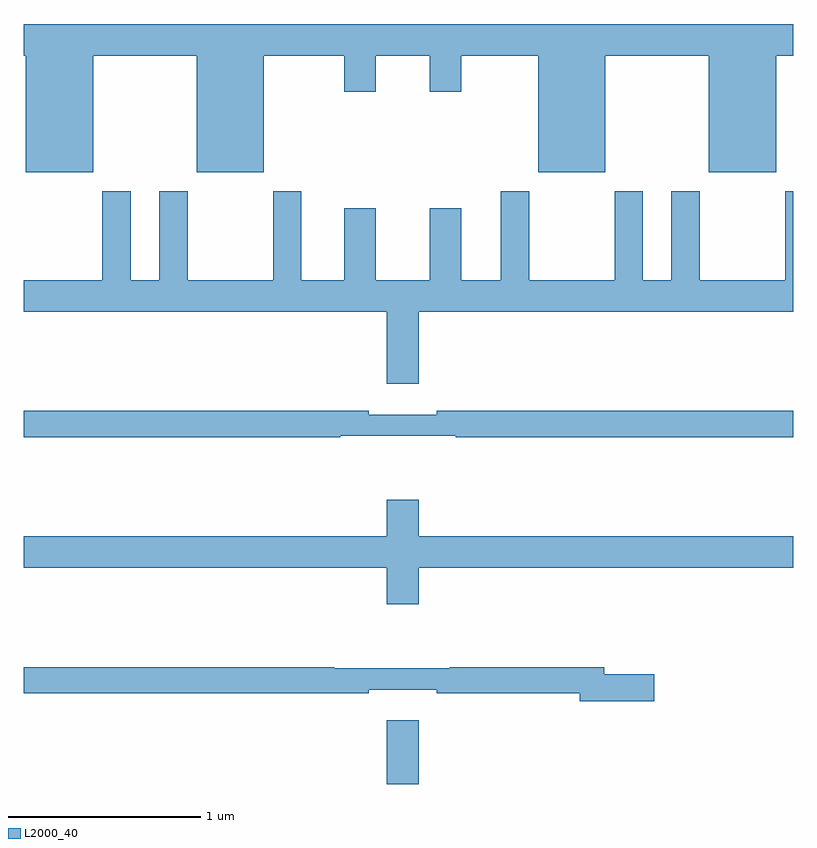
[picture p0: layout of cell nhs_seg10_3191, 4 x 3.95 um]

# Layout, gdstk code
import gdstk
lib = gdstk.Library(unit=1e-6, precision=1e-09)
def R(c, l, rs):  # rectangles x0, y0, x1, y1
    for r in rs: c.add(gdstk.rectangle(r[:2], r[2:], *l))
def P(c, l, *ps):  # polygons
    for p in ps: c.add(gdstk.Polygon(p, *l))
L2000_40 = (2000, 40)

nhs_seg10_3191 = lib.new_cell('nhs_seg10_3191')
R(nhs_seg10_3191, L2000_40, [(284.888,1324.5,285.052,1324.831)])
P(nhs_seg10_3191, L2000_40, [(283.36,1328.288),(283.898,1328.288),(283.898,1327.682),(284.248,1327.682),(284.248,1328.288),(284.666,1328.288),(284.666,1328.1),(284.83,1328.1),(284.83,1328.288),(285.11,1328.288),(285.11,1328.1),(285.274,1328.1),(285.274,1328.288),(285.674,1328.288),(285.674,1327.682),(286.024,1327.682),(286.024,1328.288),(286.562,1328.288),(286.562,1327.682),(286.912,1327.682),(286.912,1328.288),(287,1328.288),(287,1328.452),(283,1328.452),(283,1328.288),(283.01,1328.288),(283.01,1327.682),(283.36,1327.682)],
  [(285.052,1326.956),(287,1326.956),(287,1327.582),(286.96,1327.582),(286.96,1327.12),(286.515,1327.12),(286.515,1327.582),(286.367,1327.582),(286.367,1327.12),(286.219,1327.12),(286.219,1327.582),(286.072,1327.582),(286.072,1327.12),(285.627,1327.12),(285.627,1327.582),(285.479,1327.582),(285.479,1327.12),(285.274,1327.12),(285.274,1327.495),(285.11,1327.495),(285.11,1327.12),(284.83,1327.12),(284.83,1327.495),(284.666,1327.495),(284.666,1327.12),(284.443,1327.12),(284.443,1327.582),(284.296,1327.582),(284.296,1327.12),(283.851,1327.12),(283.851,1327.582),(283.703,1327.582),(283.703,1327.12),(283.555,1327.12),(283.555,1327.582),(283.408,1327.582),(283.408,1327.12),(283,1327.12),(283,1326.956),(284.888,1326.956),(284.888,1326.582),(285.052,1326.582)],
  [(284.645,1326.312),(285.245,1326.312),(285.245,1326.304),(287,1326.304),(287,1326.44),(285.148,1326.44),(285.148,1326.421),(284.792,1326.421),(284.792,1326.44),(283,1326.44),(283,1326.304),(284.645,1326.304)],
  [(285.052,1325.624),(287,1325.624),(287,1325.788),(285.052,1325.788),(285.052,1325.977),(284.888,1325.977),(284.888,1325.788),(283,1325.788),(283,1325.624),(284.888,1325.624),(284.888,1325.436),(285.052,1325.436)],
  [(286.279,1325.072),(286.018,1325.072),(286.018,1325.108),(285.214,1325.108),(285.214,1325.101),(284.614,1325.101),(284.614,1325.108),(283,1325.108),(283,1324.972),(284.792,1324.972),(284.792,1324.991),(285.148,1324.991),(285.148,1324.972),(285.89,1324.972),(285.89,1324.93),(286.279,1324.93)])

lib.write_gds('nhs_seg10_3191.gds')
